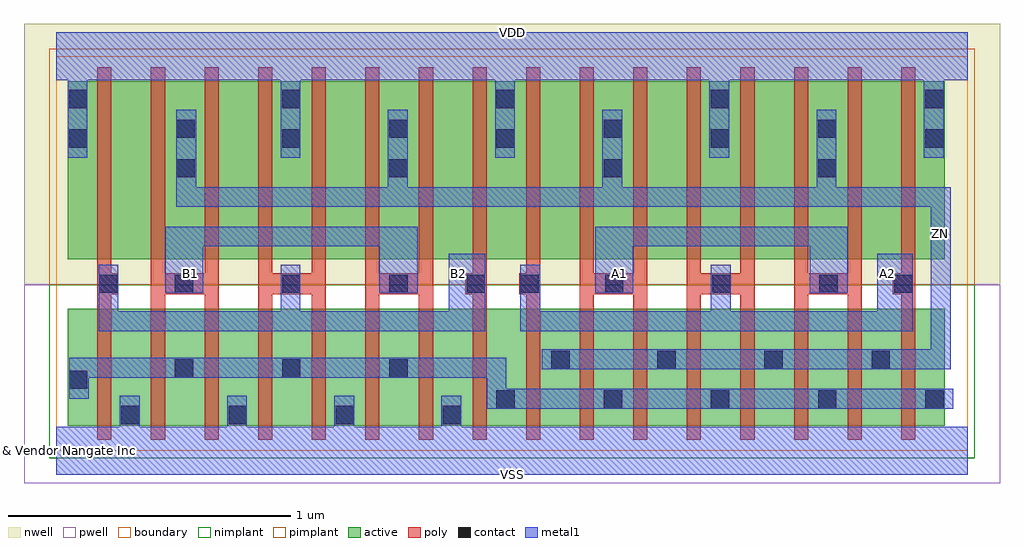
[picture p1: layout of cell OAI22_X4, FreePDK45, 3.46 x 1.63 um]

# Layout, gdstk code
import gdstk
lib = gdstk.Library(unit=1e-6, precision=1e-10)
def R(c, l, rs):  # rectangles x0, y0, x1, y1
    for r in rs: c.add(gdstk.rectangle(r[:2], r[2:], *l))
def A(c, l, x, y, w, h, nx, ny, dx, dy):  # array of equal rectangles
    R(c, l, [(x+i*dx, y+j*dy, x+i*dx+w, y+j*dy+h) for i in range(nx) for j in range(ny)])
def P(c, l, *ps):  # polygons
    for p in ps: c.add(gdstk.Polygon(p, *l))
active = (1, 0)
pwell = (2, 0)
nwell = (3, 0)
nimplant = (4, 0)
pimplant = (5, 0)
poly = (9, 0)
contact = (10, 0)
metal1 = (11, 0)
boundary = (235, 0)

oai22_x4 = lib.new_cell('OAI22_X4')
R(oai22_x4, active, [(0.04,0.09,3.15,0.505), (0.04,0.68,3.15,1.31)])
R(oai22_x4, pwell, [(-0.115,-0.115,3.345,0.59)])
R(oai22_x4, nwell, [(-0.115,0.59,3.345,1.515)])
R(oai22_x4, nimplant, [(-0.025,-0.025,3.255,0.59)])
R(oai22_x4, pimplant, [(-0.025,0.59,3.255,1.425)])
P(oai22_x4, poly, [(0.145,0.04),(0.145,1.36),(0.195,1.36),(0.195,0.63),(0.22,0.63),(0.22,0.555),(0.195,0.555),(0.195,0.04)],
  [(0.335,0.04),(0.335,1.36),(0.385,1.36),(0.385,0.63),(0.525,0.63),(0.525,1.36),(0.575,1.36),(0.575,0.04),(0.525,0.04),(0.525,0.555),(0.385,0.555),(0.385,0.04)],
  [(0.715,0.04),(0.715,1.36),(0.765,1.36),(0.765,0.63),(0.905,0.63),(0.905,1.36),(0.955,1.36),(0.955,0.04),(0.905,0.04),(0.905,0.555),(0.765,0.555),(0.765,0.04)],
  [(1.095,0.04),(1.095,1.36),(1.145,1.36),(1.145,0.63),(1.285,0.63),(1.285,1.36),(1.335,1.36),(1.335,0.04),(1.285,0.04),(1.285,0.555),(1.145,0.555),(1.145,0.04)],
  [(1.475,0.04),(1.475,0.555),(1.45,0.555),(1.45,0.63),(1.475,0.63),(1.475,1.36),(1.525,1.36),(1.525,0.04)],
  [(1.665,0.04),(1.665,0.555),(1.64,0.555),(1.64,0.63),(1.665,0.63),(1.665,1.36),(1.715,1.36),(1.715,0.04)],
  [(1.855,0.04),(1.855,1.36),(1.905,1.36),(1.905,0.63),(2.045,0.63),(2.045,1.36),(2.095,1.36),(2.095,0.04),(2.045,0.04),(2.045,0.555),(1.905,0.555),(1.905,0.04)],
  [(2.235,0.04),(2.235,1.36),(2.285,1.36),(2.285,0.63),(2.425,0.63),(2.425,1.36),(2.475,1.36),(2.475,0.04),(2.425,0.04),(2.425,0.555),(2.285,0.555),(2.285,0.04)],
  [(2.615,0.04),(2.615,1.36),(2.665,1.36),(2.665,0.63),(2.805,0.63),(2.805,1.36),(2.855,1.36),(2.855,0.04),(2.805,0.04),(2.805,0.555),(2.665,0.555),(2.665,0.04)],
  [(2.995,0.04),(2.995,0.555),(2.965,0.555),(2.965,0.63),(2.995,0.63),(2.995,1.36),(3.045,1.36),(3.045,0.04)])
A(oai22_x4, contact, 0.23, 0.095, 0.065, 0.065, 4, 1, 0.38, 0)
A(oai22_x4, contact, 1.56, 0.15, 0.065, 0.065, 5, 1, 0.38, 0)
A(oai22_x4, contact, 0.42, 0.26, 0.065, 0.065, 3, 2, 0.38, 0.3)
A(oai22_x4, contact, 2.13, 0.29, 0.065, 0.065, 3, 1, 0.38, 0)
A(oai22_x4, contact, 1.945, 0.56, 0.065, 0.065, 3, 1, 0.38, 0)
A(oai22_x4, contact, 1.18, 0.97, 0.065, 0.065, 3, 2, 0.76, 0.14)
A(oai22_x4, contact, 0.8, 1.075, 0.065, 0.065, 4, 2, 0.76, 0.14)
R(oai22_x4, contact, [(0.045,0.22,0.11,0.285), (1.755,0.29,1.82,0.355), (0.15,0.56,0.215,0.625), (1.455,0.56,1.52,0.625), (1.645,0.56,1.71,0.625), (2.97,0.56,3.035,0.625), (0.425,0.97,0.49,1.035), (0.045,1.075,0.11,1.14), (0.425,1.11,0.49,1.175), (0.045,1.215,0.11,1.28)])
P(oai22_x4, metal1, [(0.385,0.56),(0.385,0.795),(1.28,0.795),(1.28,0.56),(1.145,0.56),(1.145,0.725),(0.52,0.725),(0.52,0.56)],
  [(0.15,0.425),(0.15,0.66),(0.22,0.66),(0.22,0.495),(0.795,0.495),(0.795,0.66),(0.865,0.66),(0.865,0.495),(1.39,0.495),(1.39,0.7),(1.52,0.7),(1.52,0.425)],
  [(1.91,0.56),(1.91,0.795),(2.805,0.795),(2.805,0.56),(2.67,0.56),(2.67,0.725),(2.045,0.725),(2.045,0.56)],
  [(1.645,0.425),(1.645,0.66),(1.715,0.66),(1.715,0.495),(2.32,0.495),(2.32,0.66),(2.39,0.66),(2.39,0.495),(2.91,0.495),(2.91,0.7),(3.035,0.7),(3.035,0.425)],
  [(1.72,0.29),(1.72,0.36),(3.1,0.36),(3.1,0.865),(0.425,0.865),(0.425,1.21),(0.495,1.21),(0.495,0.935),(1.175,0.935),(1.175,1.21),(1.245,1.21),(1.245,0.935),(1.935,0.935),(1.935,1.21),(2.005,1.21),(2.005,0.935),(2.695,0.935),(2.695,1.21),(2.765,1.21),(2.765,0.935),(3.17,0.935),(3.17,0.29)],
  [(1.525,0.15),(1.525,0.26),(0.115,0.26),(0.115,0.185),(0.045,0.185),(0.045,0.33),(1.595,0.33),(1.595,0.22),(3.18,0.22),(3.18,0.15)],
  [(0,-0.085),(0,0.085),(0.225,0.085),(0.225,0.195),(0.295,0.195),(0.295,0.085),(0.605,0.085),(0.605,0.195),(0.675,0.195),(0.675,0.085),(0.985,0.085),(0.985,0.195),(1.055,0.195),(1.055,0.085),(1.365,0.085),(1.365,0.195),(1.435,0.195),(1.435,0.085),(3.23,0.085),(3.23,-0.085)],
  [(0.04,1.04),(0.04,1.315),(0,1.315),(0,1.485),(3.23,1.485),(3.23,1.315),(3.145,1.315),(3.145,1.04),(3.075,1.04),(3.075,1.315),(2.385,1.315),(2.385,1.04),(2.315,1.04),(2.315,1.315),(1.625,1.315),(1.625,1.04),(1.555,1.04),(1.555,1.315),(0.865,1.315),(0.865,1.04),(0.795,1.04),(0.795,1.315),(0.11,1.315),(0.11,1.04)])
R(oai22_x4, boundary, [(0,0,3.23,1.4)])
oai22_x4.add(gdstk.Label('A1', (1.995,0.63), layer=11, texttype=0))
oai22_x4.add(gdstk.Label('A2', (2.945,0.63), layer=11, texttype=0))
oai22_x4.add(gdstk.Label('B1', (0.475,0.63), layer=11, texttype=0))
oai22_x4.add(gdstk.Label('B2', (1.425,0.63), layer=11, texttype=0))
oai22_x4.add(gdstk.Label('VDD', (1.615,1.485), layer=11, texttype=0))
oai22_x4.add(gdstk.Label('VSS', (1.615,-0.085), layer=11, texttype=0))
oai22_x4.add(gdstk.Label('ZN', (3.135,0.77), layer=11, texttype=0))
oai22_x4.add(gdstk.Label('& Vendor Nangate Inc', (0,0), layer=63, texttype=63))
oai22_x4.add(gdstk.Label('& Product Open Cell Library', (0,0), layer=63, texttype=63))
oai22_x4.add(gdstk.Label('& Version 2010_12', (0,0), layer=63, texttype=63))
oai22_x4.add(gdstk.Label('& Instance OAI22_X4', (0,0), layer=63, texttype=63))

lib.write_gds('OAI22_X4.gds')
